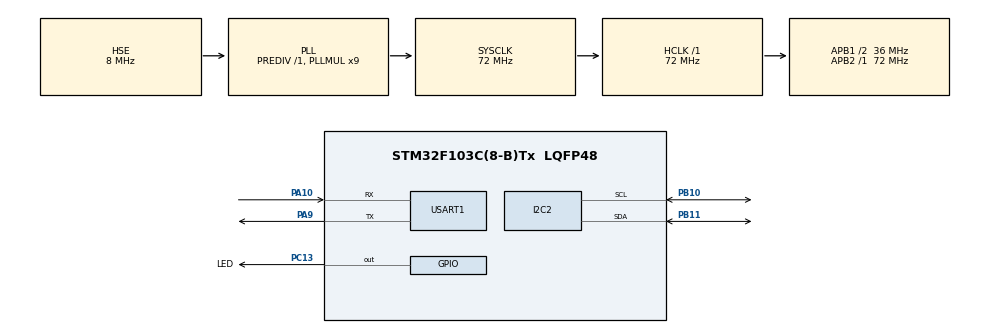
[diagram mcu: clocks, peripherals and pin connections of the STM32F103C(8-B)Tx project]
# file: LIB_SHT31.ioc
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Mcu.Family=STM32F1
Mcu.Name=STM32F103C(8-B)Tx
Mcu.Package=LQFP48
NVIC.I2C2_ER_IRQn=true\:0\:0\:false\:false\:true\:true\:true\:true
NVIC.I2C2_EV_IRQn=true\:0\:0\:false\:false\:true\:true\:true\:true
NVIC.PriorityGroup=NVIC_PRIORITYGROUP_4
PA10.Mode=Asynchronous
PA10.Signal=USART1_RX
PA13.Mode=Serial_Wire
PA13.Signal=SYS_JTMS-SWDIO
PA14.Mode=Serial_Wire
PA14.Signal=SYS_JTCK-SWCLK
PA9.Mode=Asynchronous
PA9.Signal=USART1_TX
PB10.Mode=I2C
PB10.Signal=I2C2_SCL
PB11.Mode=I2C
PB11.Signal=I2C2_SDA
PC13-TAMPER-RTC.GPIO_Label=LED
PC13-TAMPER-RTC.GPIO_Speed=GPIO_SPEED_FREQ_HIGH
PC13-TAMPER-RTC.PinState=GPIO_PIN_RESET
PC13-TAMPER-RTC.Signal=GPIO_Output
PD0-OSC_IN.Mode=HSE-External-Oscillator
PD0-OSC_IN.Signal=RCC_OSC_IN
PD1-OSC_OUT.Mode=HSE-External-Oscillator
PD1-OSC_OUT.Signal=RCC_OSC_OUT
ProjectManager.HeapSize=0x200
ProjectManager.StackSize=0x400
ProjectManager.TargetToolchain=STM32CubeIDE
RCC.AHBFreq_Value=72000000
RCC.APB1CLKDivider=RCC_HCLK_DIV2
RCC.APB1Freq_Value=36000000
RCC.APB1TimFreq_Value=72000000
RCC.APB2Freq_Value=72000000
RCC.APB2TimFreq_Value=72000000
RCC.HCLKFreq_Value=72000000
RCC.PLLMUL=RCC_PLL_MUL9
RCC.PLLSourceVirtual=RCC_PLLSOURCE_HSE
RCC.SYSCLKFreq_VALUE=72000000
RCC.SYSCLKSource=RCC_SYSCLKSOURCE_PLLCLK
RCC.USBFreq_Value=72000000
USART1.VirtualMode=VM_ASYNC
board=custom

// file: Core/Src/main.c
/* USER CODE BEGIN Header */
/**
  ******************************************************************************
  * @file           : main.c
  * @brief          : Main program body
  ******************************************************************************
  * @attention
  *
  * Copyright (c) 2023 STMicroelectronics.
  * All rights reserved.
  *
  * This software is licensed under terms that can be found in the LICENSE file
  * in the root directory of this software component.
  * If no LICENSE file comes with this software, it is provided AS-IS.
  *
  ******************************************************************************
  */
/* USER CODE END Header */
#include "main.h"

/* USER CODE BEGIN Includes */
#include "SHT31.h"
#include <stdio.h>
#include <math.h>
/* USER CODE END Includes */

I2C_HandleTypeDef hi2c2;

UART_HandleTypeDef huart1;

/* USER CODE BEGIN PV */
const char m7d[] = {0x7D, 0x11, 0xDC, 0xD5, 0xB1, 0xE5, 0xED, 0x51, 0xFD, 0xF5};

SHT31_type _sht31;
uint8_t flag = 0;
uint32_t t = 0;
float tem = 0;
uint8_t buffer[32] = {0};
/* USER CODE END PV */

void SystemClock_Config(void);
static void MX_GPIO_Init(void);
static void MX_I2C2_Init(void);
static void MX_USART1_UART_Init(void);
/* USER CODE BEGIN PFP */
void HienThiQuetLed(float);
void dichDuLieu74595();
/* USER CODE END PFP */

/* USER CODE BEGIN 0 */
//const char m7d[] = {0x7D, 0x11, 0xDC, 0xD5, 0xB1, 0xE5, 0xED, 0x51, 0xFD, 0xF5};
/* USER CODE END 0 */

int main(void)
{
  /* USER CODE BEGIN 1 */
//  float nguyen = 0;
  /* USER CODE END 1 */

  /* MCU Configuration--------------------------------------------------------*/

  /* Reset of all peripherals, Initializes the Flash interface and the Systick. */
  HAL_Init();

  /* Configure the system clock */
  SystemClock_Config();

  /* Initialize all configured peripherals */
  MX_GPIO_Init();
  MX_I2C2_Init();
  MX_USART1_UART_Init();
  /* USER CODE BEGIN 2 */
  while(SHT31_init(&_sht31, &hi2c2) != HAL_OK);
  HAL_GPIO_WritePin(LED_GPIO_Port, LED_Pin, 0);
//  dichDuLieu74595(0);

//  HAL_GPIO_WritePin(OE_GPIO_Port, OE_Pin, 0); // cho phép xuất liên tục
//
//  HAL_GPIO_WritePin(led1_7seg_GPIO_Port, led1_7seg_Pin, 1); // bật led 1
//  HAL_GPIO_WritePin(led2_7seg_GPIO_Port, led2_7seg_Pin, 1); // bật led 2
//  HAL_GPIO_WritePin(led3_7seg_GPIO_Port, led3_7seg_Pin, 1); // bật led 3
  /* USER CODE END 2 */

  /* Infinite loop */
  /* USER CODE BEGIN WHILE */
  while (1)
  {
	  SHT31_WriteCMD(&_sht31, SHT31_MEASUREMENT_SLOW);
//	  HAL_Delay(4);
	  SHT31_ReadTemperature(&_sht31, &tem, &flag);
//	  if(HAL_GetTick() - t >= 1000){
//		  t = HAL_GetTick();
//		  sprintf(buffer, "nhiet do: %f \n", tem);
//		  HAL_UART_Transmit(&huart1, buffer, sizeof(buffer), 10000);
//	  }

//	  dichDuLieu74595();
//	  HAL_GPIO_WritePin(LED_GPIO_Port, LED_Pin, flag);
    /* USER CODE END WHILE */

  }
}

void SystemClock_Config(void)
{
  RCC_OscInitTypeDef RCC_OscInitStruct = {0};
  RCC_ClkInitTypeDef RCC_ClkInitStruct = {0};

  /** Initializes the RCC Oscillators according to the specified parameters
  * in the RCC_OscInitTypeDef structure.
  */
  RCC_OscInitStruct.OscillatorType = RCC_OSCILLATORTYPE_HSE;
  RCC_OscInitStruct.HSEState = RCC_HSE_ON;
  RCC_OscInitStruct.HSEPredivValue = RCC_HSE_PREDIV_DIV1;
  RCC_OscInitStruct.HSIState = RCC_HSI_ON;
  RCC_OscInitStruct.PLL.PLLState = RCC_PLL_ON;
  RCC_OscInitStruct.PLL.PLLSource = RCC_PLLSOURCE_HSE;
  RCC_OscInitStruct.PLL.PLLMUL = RCC_PLL_MUL9;
  if (HAL_RCC_OscConfig(&RCC_OscInitStruct) != HAL_OK)
  {
    Error_Handler();
  }

  /** Initializes the CPU, AHB and APB buses clocks
  */
  RCC_ClkInitStruct.ClockType = RCC_CLOCKTYPE_HCLK|RCC_CLOCKTYPE_SYSCLK
                              |RCC_CLOCKTYPE_PCLK1|RCC_CLOCKTYPE_PCLK2;
  RCC_ClkInitStruct.SYSCLKSource = RCC_SYSCLKSOURCE_PLLCLK;
  RCC_ClkInitStruct.AHBCLKDivider = RCC_SYSCLK_DIV1;
  RCC_ClkInitStruct.APB1CLKDivider = RCC_HCLK_DIV2;
  RCC_ClkInitStruct.APB2CLKDivider = RCC_HCLK_DIV1;

  if (HAL_RCC_ClockConfig(&RCC_ClkInitStruct, FLASH_LATENCY_2) != HAL_OK)
  {
    Error_Handler();
  }
}

static void MX_I2C2_Init(void)
{

  hi2c2.Instance = I2C2;
  hi2c2.Init.ClockSpeed = 100000;
  hi2c2.Init.DutyCycle = I2C_DUTYCYCLE_2;
  hi2c2.Init.OwnAddress1 = 0;
  hi2c2.Init.AddressingMode = I2C_ADDRESSINGMODE_7BIT;
  hi2c2.Init.DualAddressMode = I2C_DUALADDRESS_DISABLE;
  hi2c2.Init.OwnAddress2 = 0;
  hi2c2.Init.GeneralCallMode = I2C_GENERALCALL_DISABLE;
  hi2c2.Init.NoStretchMode = I2C_NOSTRETCH_DISABLE;
  if (HAL_I2C_Init(&hi2c2) != HAL_OK)
  {
    Error_Handler();
  }

}

static void MX_USART1_UART_Init(void)
{

  huart1.Instance = USART1;
  huart1.Init.BaudRate = 115200;
  huart1.Init.WordLength = UART_WORDLENGTH_8B;
  huart1.Init.StopBits = UART_STOPBITS_1;
  huart1.Init.Parity = UART_PARITY_NONE;
  huart1.Init.Mode = UART_MODE_TX_RX;
  huart1.Init.HwFlowCtl = UART_HWCONTROL_NONE;
  huart1.Init.OverSampling = UART_OVERSAMPLING_16;
  if (HAL_UART_Init(&huart1) != HAL_OK)
  {
    Error_Handler();
  }

}

static void MX_GPIO_Init(void)
{
  GPIO_InitTypeDef GPIO_InitStruct = {0};

  /* GPIO Ports Clock Enable */
  __HAL_RCC_GPIOC_CLK_ENABLE();
  __HAL_RCC_GPIOD_CLK_ENABLE();
  __HAL_RCC_GPIOB_CLK_ENABLE();
  __HAL_RCC_GPIOA_CLK_ENABLE();

  /*Configure GPIO pin Output Level */
  HAL_GPIO_WritePin(LED_GPIO_Port, LED_Pin, GPIO_PIN_RESET);

  /*Configure GPIO pin : LED_Pin */
  GPIO_InitStruct.Pin = LED_Pin;
  GPIO_InitStruct.Mode = GPIO_MODE_OUTPUT_PP;
  GPIO_InitStruct.Pull = GPIO_NOPULL;
  GPIO_InitStruct.Speed = GPIO_SPEED_FREQ_HIGH;
  HAL_GPIO_Init(LED_GPIO_Port, &GPIO_InitStruct);

}

/* USER CODE BEGIN 4 */

//void HienThiQuetLed(){
//	  for(uint16_t i = 0; i < 84; i ++){
//		  dichDuLieu74595(m7d[counter % 10]);
//		  HAL_GPIO_WritePin(led1_7seg_GPIO_Port, led1_7seg_Pin, 1); // bật led 1
//		  HAL_GPIO_WritePin(led2_7seg_GPIO_Port, led2_7seg_Pin, 0); // bật led 2
//		  HAL_GPIO_WritePin(led3_7seg_GPIO_Port, led3_7seg_Pin, 0); // bật led 3
//		  HAL_Delay(1);
//		  dichDuLieu74595(m7d[counter / 10 % 10]);
//		  HAL_GPIO_WritePin(led1_7seg_GPIO_Port, led1_7seg_Pin, 0); // bật led 1
//		  HAL_GPIO_WritePin(led2_7seg_GPIO_Port, led2_7seg_Pin, 1); // bật led 2
//		  HAL_GPIO_WritePin(led3_7seg_GPIO_Port, led3_7seg_Pin, 0); // bật led 3
//		  HAL_Delay(1);
//		  dichDuLieu74595(m7d[counter / 100]);
//		  HAL_GPIO_WritePin(led1_7seg_GPIO_Port, led1_7seg_Pin, 0); // bật led 1
//		  HAL_GPIO_WritePin(led2_7seg_GPIO_Port, led2_7seg_Pin, 0); // bật led 2
//		  HAL_GPIO_WritePin(led3_7seg_GPIO_Port, led3_7seg_Pin, 1); // bật led 3
//		  HAL_Delay(1);
//	  }
//}
//void dichDuLieu74595(){
//	//xuất bit cao nhất trước
//	for (unsigned char i = 0; i < 8; i++) {
//		HAL_GPIO_WritePin(SER_GPIO_Port, SER_Pin, (data >> i) & 0x01);
//		//nhịp 1 xung cạnh xuống đưa dữ liệu vào tầng lưu trữ
//		HAL_GPIO_WritePin(SRCLK_GPIO_Port, SRCLK_Pin, 0);
//		HAL_GPIO_WritePin(SRCLK_GPIO_Port, SRCLK_Pin, 1);
//	}
//	HAL_GPIO_WritePin(RCLK_GPIO_Port, RCLK_Pin, 0);
//	HAL_GPIO_WritePin(RCLK_GPIO_Port, RCLK_Pin, 1);
//}

/* USER CODE END 4 */

void Error_Handler(void)
{
  __disable_irq();
  while (1)
  {
  }
}
